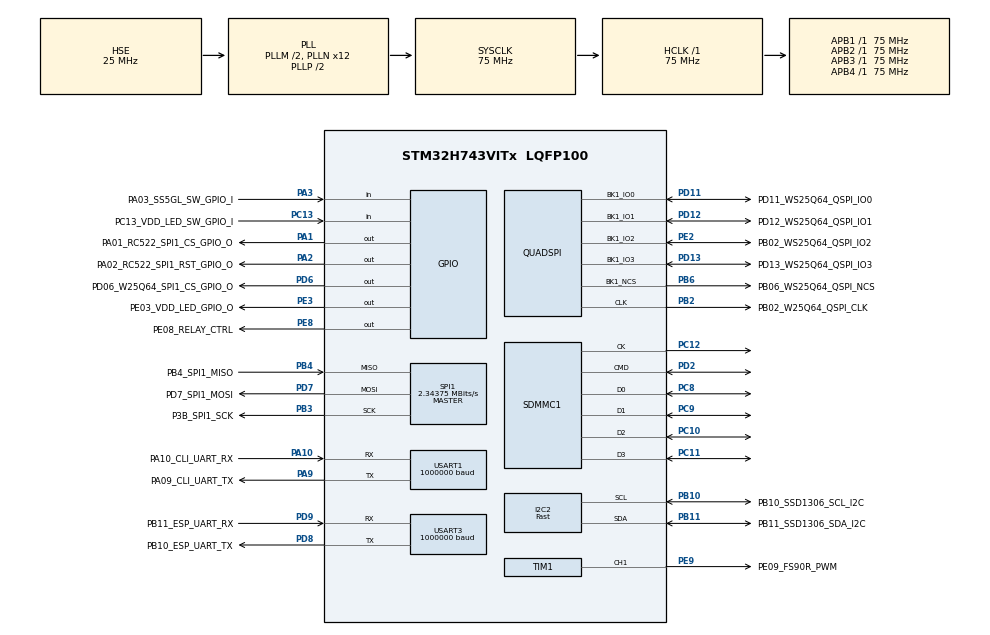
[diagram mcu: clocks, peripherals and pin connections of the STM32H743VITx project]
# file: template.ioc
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ADC3.Channel-2\#ChannelRegularConversion=ADC_CHANNEL_VBAT
ADC3.Channel-4\#ChannelRegularConversion=ADC_CHANNEL_TEMPSENSOR
ADC3.ContinuousConvMode=ENABLE
ADC3.ConversionDataManagement=ADC_CONVERSIONDATA_DMA_CIRCULAR
ADC3.NbrOfConversion=2
ADC3.NbrOfConversionFlag=1
ADC3.OffsetNumber-2\#ChannelRegularConversion=ADC_OFFSET_NONE
ADC3.OffsetNumber-4\#ChannelRegularConversion=ADC_OFFSET_NONE
ADC3.OffsetSignedSaturation-2\#ChannelRegularConversion=DISABLE
ADC3.OffsetSignedSaturation-4\#ChannelRegularConversion=DISABLE
ADC3.Overrun=ADC_OVR_DATA_OVERWRITTEN
ADC3.Rank-2\#ChannelRegularConversion=1
ADC3.Rank-4\#ChannelRegularConversion=2
ADC3.SamplingTime-2\#ChannelRegularConversion=ADC_SAMPLETIME_810CYCLES_5
ADC3.SamplingTime-4\#ChannelRegularConversion=ADC_SAMPLETIME_810CYCLES_5
Bdma.ADC3.0.Direction=DMA_PERIPH_TO_MEMORY
Bdma.ADC3.0.EventEnable=DISABLE
Bdma.ADC3.0.Instance=BDMA_Channel0
Bdma.ADC3.0.MemDataAlignment=DMA_MDATAALIGN_HALFWORD
Bdma.ADC3.0.MemInc=DMA_MINC_ENABLE
Bdma.ADC3.0.Mode=DMA_CIRCULAR
Bdma.ADC3.0.PeriphDataAlignment=DMA_PDATAALIGN_HALFWORD
Bdma.ADC3.0.PeriphInc=DMA_PINC_DISABLE
Bdma.ADC3.0.Polarity=HAL_DMAMUX_REQ_GEN_RISING
Bdma.ADC3.0.Priority=DMA_PRIORITY_LOW
Bdma.ADC3.0.RequestNumber=1
Bdma.ADC3.0.SignalID=NONE
Bdma.ADC3.0.SyncEnable=DISABLE
Bdma.ADC3.0.SyncPolarity=HAL_DMAMUX_SYNC_NO_EVENT
Bdma.ADC3.0.SyncRequestNumber=1
Bdma.ADC3.0.SyncSignalID=NONE
Bdma.Request0=ADC3
Bdma.RequestsNb=1
FATFS._VOLUMES=2
I2C2.I2C_Fall_Time=300
I2C2.I2C_Rise_Time=300
I2C2.I2C_Speed_Mode=I2C_Fast
I2C2.Timing=0x10E8132D
Mcu.Family=STM32H7
Mcu.Name=STM32H743VITx
Mcu.Package=LQFP100
NVIC.BDMA_Channel0_IRQn=true\:0\:0\:false\:false\:true\:false\:true
NVIC.PriorityGroup=NVIC_PRIORITYGROUP_4
PA1.GPIO_Label=PA01_RC522_SPI1_CS_GPIO_O
PA1.PinState=GPIO_PIN_SET
PA1.Signal=GPIO_Output
PA10.GPIO_Label=PA10_CLI_UART_RX
PA10.GPIO_Speed=GPIO_SPEED_FREQ_MEDIUM
PA10.Mode=Asynchronous
PA10.Signal=USART1_RX
PA2.GPIO_Label=PA02_RC522_SPI1_RST_GPIO_O
PA2.PinState=GPIO_PIN_SET
PA2.Signal=GPIO_Output
PA3.GPIO_Label=PA03_SS5GL_SW_GPIO_I
PA3.GPIO_PuPd=GPIO_PULLDOWN
PA3.Signal=GPIO_Input
PA9.GPIO_Label=PA09_CLI_UART_TX
PA9.GPIO_ModeDefaultPP=GPIO_MODE_AF_PP
PA9.GPIO_PuPd=GPIO_NOPULL
PA9.GPIO_Speed=GPIO_SPEED_FREQ_MEDIUM
PA9.Mode=Asynchronous
PA9.Signal=USART1_TX
PB10.GPIO_Label=PB10_SSD1306_SCL_I2C
PB10.Mode=I2C
PB10.Signal=I2C2_SCL
PB11.GPIO_Label=PB11_SSD1306_SDA_I2C
PB11.Mode=I2C
PB11.Signal=I2C2_SDA
PB2.GPIO_Label=PB02_W25Q64_QSPI_CLK
PB2.GPIO_Speed=GPIO_SPEED_FREQ_HIGH
PB2.Mode=Single Bank 1
PB2.Signal=QUADSPI_CLK
PB3\ (JTDO/TRACESWO).GPIO_Label=P3B_SPI1_SCK
PB3\ (JTDO/TRACESWO).Mode=Full_Duplex_Master
PB3\ (JTDO/TRACESWO).Signal=SPI1_SCK
PB4\ (NJTRST).GPIO_Label=PB4_SPI1_MISO
PB4\ (NJTRST).Mode=Full_Duplex_Master
PB4\ (NJTRST).Signal=SPI1_MISO
PB6.GPIO_Label=PB06_WS25Q64_QSPI_NCS
PB6.GPIO_Speed=GPIO_SPEED_FREQ_HIGH
PB6.Mode=Single Bank 1
PB6.Signal=QUADSPI_BK1_NCS
PC10.Mode=SD_4_bits_Wide_bus
PC10.Signal=SDMMC1_D2
PC11.Mode=SD_4_bits_Wide_bus
PC11.Signal=SDMMC1_D3
PC12.Mode=SD_4_bits_Wide_bus
PC12.Signal=SDMMC1_CK
PC13.GPIO_Label=PC13_VDD_LED_SW_GPIO_I
PC13.GPIO_PuPd=GPIO_PULLDOWN
PC13.Signal=GPIO_Input
PC14-OSC32_IN\ (OSC32_IN).Mode=LSE-External-Oscillator
PC14-OSC32_IN\ (OSC32_IN).Signal=RCC_OSC32_IN
PC15-OSC32_OUT\ (OSC32_OUT).Mode=LSE-External-Oscillator
PC15-OSC32_OUT\ (OSC32_OUT).Signal=RCC_OSC32_OUT
PC8.Mode=SD_4_bits_Wide_bus
PC8.Signal=SDMMC1_D0
PC9.Mode=SD_4_bits_Wide_bus
PC9.Signal=SDMMC1_D1
PD11.GPIO_Label=PD11_WS25Q64_QSPI_IO0
PD11.GPIO_Speed=GPIO_SPEED_FREQ_HIGH
PD11.Mode=Single Bank 1
PD11.Signal=QUADSPI_BK1_IO0
PD12.GPIO_Label=PD12_WS25Q64_QSPI_IO1
PD12.GPIO_Speed=GPIO_SPEED_FREQ_HIGH
PD12.Mode=Single Bank 1
PD12.Signal=QUADSPI_BK1_IO1
PD13.GPIO_Label=PD13_WS25Q64_QSPI_IO3
PD13.GPIO_Speed=GPIO_SPEED_FREQ_HIGH
PD13.Mode=Single Bank 1
PD13.Signal=QUADSPI_BK1_IO3
PD2.Mode=SD_4_bits_Wide_bus
PD2.Signal=SDMMC1_CMD
PD6.GPIO_Label=PD06_W25Q64_SPI1_CS_GPIO_O
PD6.GPIO_PuPd=GPIO_NOPULL
PD6.GPIO_Speed=GPIO_SPEED_FREQ_HIGH
PD6.PinState=GPIO_PIN_SET
PD6.Signal=GPIO_Output
PD7.GPIO_Label=PD7_SPI1_MOSI
PD7.Mode=Full_Duplex_Master
PD7.Signal=SPI1_MOSI
PD8.GPIO_Label=PB10_ESP_UART_TX
PD8.GPIO_Speed=GPIO_SPEED_FREQ_HIGH
PD8.Mode=Asynchronous
PD8.Signal=USART3_TX
PD9.GPIO_Label=PB11_ESP_UART_RX
PD9.GPIO_Speed=GPIO_SPEED_FREQ_HIGH
PD9.Mode=Asynchronous
PD9.Signal=USART3_RX
PE2.GPIO_Label=PB02_WS25Q64_QSPI_IO2
PE2.GPIO_Speed=GPIO_SPEED_FREQ_HIGH
PE2.Mode=Single Bank 1
PE2.Signal=QUADSPI_BK1_IO2
PE3.GPIO_Label=PE03_VDD_LED_GPIO_O
PE3.Signal=GPIO_Output
PE8.GPIO_Label=PE08_RELAY_CTRL
PE8.Signal=GPIO_Output
PE9.GPIO_Label=PE09_FS90R_PWM
PE9.Signal=S_TIM1_CH1
PH0-OSC_IN\ (PH0).Mode=HSE-External-Oscillator
PH0-OSC_IN\ (PH0).Signal=RCC_OSC_IN
PH1-OSC_OUT\ (PH1).Mode=HSE-External-Oscillator
PH1-OSC_OUT\ (PH1).Signal=RCC_OSC_OUT
ProjectManager.HeapSize=0x200
ProjectManager.StackSize=0x400
ProjectManager.TargetToolchain=STM32CubeIDE
QUADSPI.FlashSize=22
QUADSPI.SampleShifting=QSPI_SAMPLE_SHIFTING_HALFCYCLE
RCC.ADCFreq_Value=75000000
RCC.APB1Freq_Value=75000000
RCC.APB2Freq_Value=75000000
RCC.APB3Freq_Value=75000000
RCC.APB4Freq_Value=75000000
RCC.CortexFreq_Value=75000000
RCC.DIVM1=2
RCC.DIVM2=2
RCC.DIVN1=12
RCC.DIVN2=12
RCC.DIVQ1=1
RCC.HCLKFreq_Value=75000000
RCC.PLL1_VCI_Range-AdvancedSettings=RCC_PLL1VCIRANGE_1
RCC.PLL1_VCO_SEL-AdvancedSettings=RCC_PLL1VCOWIDE
RCC.PLL2FRACN=0
RCC.PLL2_VCI_Range-AdvancedSettings=RCC_PLL2VCIRANGE_0
RCC.PLL3_VCI_Range-AdvancedSettings=RCC_PLL3VCIRANGE_3
RCC.PLLFRACN=0
RCC.PLLSourceVirtual=RCC_PLLSOURCE_HSE
RCC.PWR_Regulator_Voltage_Scale=PWR_REGULATOR_VOLTAGE_SCALE0
RCC.SYSCLKFreq_VALUE=75000000
RCC.SYSCLKSource=RCC_SYSCLKSOURCE_PLLCLK
RCC.USBFreq_Value=150000000
SDMMC1.ClockDiv=23
SH.S_TIM1_CH1.0=TIM1_CH1,PWM Generation1 CH1
SPI1.BaudRatePrescaler=SPI_BAUDRATEPRESCALER_64
SPI1.CalculateBaudRate=2.34375 MBits/s
SPI1.DataSize=SPI_DATASIZE_8BIT
SPI1.Direction=SPI_DIRECTION_2LINES
SPI1.Mode=SPI_MODE_MASTER
SPI1.VirtualType=VM_MASTER
TIM1.AutoReloadPreload=TIM_AUTORELOAD_PRELOAD_ENABLE
TIM1.Channel-PWM\ Generation1\ CH1=TIM_CHANNEL_1
TIM1.Period=19999
TIM1.Prescaler=74
TIM1.Pulse-PWM\ Generation1\ CH1=1500
USART1.BaudRate=1000000
USART1.VirtualMode-Asynchronous=VM_ASYNC
USART3.BaudRate=1000000
USART3.VirtualMode-Asynchronous=VM_ASYNC
VP_ADC3_TempSens_Input.Mode=IN-TempSens
VP_ADC3_Vbat_Input.Mode=IN-Vbat
VP_FATFS_VS_Generic.Mode=User_defined
VP_TIM1_VS_ClockSourceINT.Mode=Internal
board=custom

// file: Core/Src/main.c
/* USER CODE BEGIN Header */
/**
  ******************************************************************************
  * @file           : main.c
  * @brief          : Main program body
  ******************************************************************************
  * @attention
  *
  * <h2><center>&copy; Copyright (c) 2026 STMicroelectronics.
  * All rights reserved.</center></h2>
  *
  * This software component is licensed by ST under BSD 3-Clause license,
  * the "License"; You may not use this file except in compliance with the
  * License. You may obtain a copy of the License at:
  *                        opensource.org/licenses/BSD-3-Clause
  *
  ******************************************************************************
  */
/* USER CODE END Header */
#include "main.h"
#include "fatfs.h"

/* USER CODE BEGIN Includes */
#include "hw.h"
#include "info.h"
#include "service.h"
#include "log.h"
/* USER CODE END Includes */

ADC_HandleTypeDef hadc3;
DMA_HandleTypeDef hdma_adc3;

I2C_HandleTypeDef hi2c2;

QSPI_HandleTypeDef hqspi;

SD_HandleTypeDef hsd1;

SPI_HandleTypeDef hspi1;

TIM_HandleTypeDef htim1;

UART_HandleTypeDef huart1;
UART_HandleTypeDef huart3;

/* USER CODE BEGIN PV */
hw_config_t hw_cfg;

/* USER CODE END PV */

void SystemClock_Config(void);
static void MX_GPIO_Init(void);
static void MX_USART1_UART_Init(void);
static void MX_USART3_UART_Init(void);
static void MX_SPI1_Init(void);
static void MX_QUADSPI_Init(void);
static void MX_ADC3_Init(void);
static void MX_TIM1_Init(void);
static void MX_I2C2_Init(void);
static void MX_SDMMC1_SD_Init(void);
static void MX_BDMA_Init(void);

int main(void)
{

  /* MCU Configuration--------------------------------------------------------*/

  /* Reset of all peripherals, Initializes the Flash interface and the Systick. */
  HAL_Init();

  /* Configure the system clock */
  SystemClock_Config();

  /* Initialize all configured peripherals */
  MX_GPIO_Init();
  MX_USART1_UART_Init();
  MX_USART3_UART_Init();
  MX_SPI1_Init();
  MX_QUADSPI_Init();
  MX_ADC3_Init();
  MX_TIM1_Init();
  MX_I2C2_Init();
  MX_SDMMC1_SD_Init();
  MX_BDMA_Init();
  MX_FATFS_Init();
  /* USER CODE BEGIN 2 */
  /* @formatter:off */
  hw_config_t hw_cfg = {
      .h_uart = { &huart1, &huart3},
      .h_i2c = { &hi2c2, },
      .h_spi = { &hspi1 },
      .h_qspi = { &hqspi },
      .h_adc = { &hadc3, &hadc3 },
      .h_tim = { &htim1 },
      .h_sd = { &hsd1 }
      };
    /* @formatter:on */
  hwInit(&hw_cfg);
  infoCliInit();
  logInit();

  /* USER CODE END 2 */

  /* Infinite loop */
  /* USER CODE BEGIN WHILE */
  while (1)
  {
    infoCliUpdate();
    serviceUpdate();
    /* USER CODE END WHILE */

  }
}

void SystemClock_Config(void)
{
  RCC_OscInitTypeDef RCC_OscInitStruct = {0};
  RCC_ClkInitTypeDef RCC_ClkInitStruct = {0};

  /** Supply configuration update enable
  */
  HAL_PWREx_ConfigSupply(PWR_LDO_SUPPLY);
  /** Configure the main internal regulator output voltage
  */
  __HAL_PWR_VOLTAGESCALING_CONFIG(PWR_REGULATOR_VOLTAGE_SCALE0);

  while(!__HAL_PWR_GET_FLAG(PWR_FLAG_VOSRDY)) {}
  /** Macro to configure the PLL clock source
  */
  __HAL_RCC_PLL_PLLSOURCE_CONFIG(RCC_PLLSOURCE_HSE);
  /** Initializes the RCC Oscillators according to the specified parameters
  * in the RCC_OscInitTypeDef structure.
  */
  RCC_OscInitStruct.OscillatorType = RCC_OSCILLATORTYPE_HSE;
  RCC_OscInitStruct.HSEState = RCC_HSE_ON;
  RCC_OscInitStruct.PLL.PLLState = RCC_PLL_ON;
  RCC_OscInitStruct.PLL.PLLSource = RCC_PLLSOURCE_HSE;
  RCC_OscInitStruct.PLL.PLLM = 2;
  RCC_OscInitStruct.PLL.PLLN = 12;
  RCC_OscInitStruct.PLL.PLLP = 2;
  RCC_OscInitStruct.PLL.PLLQ = 1;
  RCC_OscInitStruct.PLL.PLLR = 2;
  RCC_OscInitStruct.PLL.PLLRGE = RCC_PLL1VCIRANGE_3;
  RCC_OscInitStruct.PLL.PLLVCOSEL = RCC_PLL1VCOMEDIUM;
  RCC_OscInitStruct.PLL.PLLFRACN = 0;
  if (HAL_RCC_OscConfig(&RCC_OscInitStruct) != HAL_OK)
  {
    Error_Handler();
  }
  /** Initializes the CPU, AHB and APB buses clocks
  */
  RCC_ClkInitStruct.ClockType = RCC_CLOCKTYPE_HCLK|RCC_CLOCKTYPE_SYSCLK
                              |RCC_CLOCKTYPE_PCLK1|RCC_CLOCKTYPE_PCLK2
                              |RCC_CLOCKTYPE_D3PCLK1|RCC_CLOCKTYPE_D1PCLK1;
  RCC_ClkInitStruct.SYSCLKSource = RCC_SYSCLKSOURCE_PLLCLK;
  RCC_ClkInitStruct.SYSCLKDivider = RCC_SYSCLK_DIV1;
  RCC_ClkInitStruct.AHBCLKDivider = RCC_HCLK_DIV1;
  RCC_ClkInitStruct.APB3CLKDivider = RCC_APB3_DIV1;
  RCC_ClkInitStruct.APB1CLKDivider = RCC_APB1_DIV1;
  RCC_ClkInitStruct.APB2CLKDivider = RCC_APB2_DIV1;
  RCC_ClkInitStruct.APB4CLKDivider = RCC_APB4_DIV1;

  if (HAL_RCC_ClockConfig(&RCC_ClkInitStruct, FLASH_LATENCY_1) != HAL_OK)
  {
    Error_Handler();
  }
}

static void MX_ADC3_Init(void)
{

  ADC_ChannelConfTypeDef sConfig = {0};

  /** Common config
  */
  hadc3.Instance = ADC3;
  hadc3.Init.ClockPrescaler = ADC_CLOCK_ASYNC_DIV1;
  hadc3.Init.Resolution = ADC_RESOLUTION_16B;
  hadc3.Init.ScanConvMode = ADC_SCAN_ENABLE;
  hadc3.Init.EOCSelection = ADC_EOC_SINGLE_CONV;
  hadc3.Init.LowPowerAutoWait = DISABLE;
  hadc3.Init.ContinuousConvMode = ENABLE;
  hadc3.Init.NbrOfConversion = 2;
  hadc3.Init.DiscontinuousConvMode = DISABLE;
  hadc3.Init.ExternalTrigConv = ADC_SOFTWARE_START;
  hadc3.Init.ExternalTrigConvEdge = ADC_EXTERNALTRIGCONVEDGE_NONE;
  hadc3.Init.ConversionDataManagement = ADC_CONVERSIONDATA_DMA_CIRCULAR;
  hadc3.Init.Overrun = ADC_OVR_DATA_OVERWRITTEN;
  hadc3.Init.LeftBitShift = ADC_LEFTBITSHIFT_NONE;
  hadc3.Init.OversamplingMode = DISABLE;
  if (HAL_ADC_Init(&hadc3) != HAL_OK)
  {
    Error_Handler();
  }
  /** Configure Regular Channel
  */
  sConfig.Channel = ADC_CHANNEL_VBAT;
  sConfig.Rank = ADC_REGULAR_RANK_1;
  sConfig.SamplingTime = ADC_SAMPLETIME_810CYCLES_5;
  sConfig.SingleDiff = ADC_SINGLE_ENDED;
  sConfig.OffsetNumber = ADC_OFFSET_NONE;
  sConfig.Offset = 0;
  sConfig.OffsetSignedSaturation = DISABLE;
  if (HAL_ADC_ConfigChannel(&hadc3, &sConfig) != HAL_OK)
  {
    Error_Handler();
  }
  /** Configure Regular Channel
  */
  sConfig.Channel = ADC_CHANNEL_TEMPSENSOR;
  sConfig.Rank = ADC_REGULAR_RANK_2;
  if (HAL_ADC_ConfigChannel(&hadc3, &sConfig) != HAL_OK)
  {
    Error_Handler();
  }

}

static void MX_I2C2_Init(void)
{

  hi2c2.Instance = I2C2;
  hi2c2.Init.Timing = 0x10E8132D;
  hi2c2.Init.OwnAddress1 = 0;
  hi2c2.Init.AddressingMode = I2C_ADDRESSINGMODE_7BIT;
  hi2c2.Init.DualAddressMode = I2C_DUALADDRESS_DISABLE;
  hi2c2.Init.OwnAddress2 = 0;
  hi2c2.Init.OwnAddress2Masks = I2C_OA2_NOMASK;
  hi2c2.Init.GeneralCallMode = I2C_GENERALCALL_DISABLE;
  hi2c2.Init.NoStretchMode = I2C_NOSTRETCH_DISABLE;
  if (HAL_I2C_Init(&hi2c2) != HAL_OK)
  {
    Error_Handler();
  }
  /** Configure Analogue filter
  */
  if (HAL_I2CEx_ConfigAnalogFilter(&hi2c2, I2C_ANALOGFILTER_ENABLE) != HAL_OK)
  {
    Error_Handler();
  }
  /** Configure Digital filter
  */
  if (HAL_I2CEx_ConfigDigitalFilter(&hi2c2, 0) != HAL_OK)
  {
    Error_Handler();
  }

}

static void MX_QUADSPI_Init(void)
{

  /* QUADSPI parameter configuration*/
  hqspi.Instance = QUADSPI;
  hqspi.Init.ClockPrescaler = 255;
  hqspi.Init.FifoThreshold = 1;
  hqspi.Init.SampleShifting = QSPI_SAMPLE_SHIFTING_HALFCYCLE;
  hqspi.Init.FlashSize = 22;
  hqspi.Init.ChipSelectHighTime = QSPI_CS_HIGH_TIME_1_CYCLE;
  hqspi.Init.ClockMode = QSPI_CLOCK_MODE_0;
  hqspi.Init.FlashID = QSPI_FLASH_ID_1;
  hqspi.Init.DualFlash = QSPI_DUALFLASH_DISABLE;
  if (HAL_QSPI_Init(&hqspi) != HAL_OK)
  {
    Error_Handler();
  }

}

static void MX_SDMMC1_SD_Init(void)
{

  hsd1.Instance = SDMMC1;
  hsd1.Init.ClockEdge = SDMMC_CLOCK_EDGE_RISING;
  hsd1.Init.ClockPowerSave = SDMMC_CLOCK_POWER_SAVE_DISABLE;
  hsd1.Init.BusWide = SDMMC_BUS_WIDE_4B;
  hsd1.Init.HardwareFlowControl = SDMMC_HARDWARE_FLOW_CONTROL_DISABLE;
  hsd1.Init.ClockDiv = 23;
  if (HAL_SD_Init(&hsd1) != HAL_OK)
  {
    Error_Handler();
  }

}

static void MX_SPI1_Init(void)
{

  /* SPI1 parameter configuration*/
  hspi1.Instance = SPI1;
  hspi1.Init.Mode = SPI_MODE_MASTER;
  hspi1.Init.Direction = SPI_DIRECTION_2LINES;
  hspi1.Init.DataSize = SPI_DATASIZE_8BIT;
  hspi1.Init.CLKPolarity = SPI_POLARITY_LOW;
  hspi1.Init.CLKPhase = SPI_PHASE_1EDGE;
  hspi1.Init.NSS = SPI_NSS_SOFT;
  hspi1.Init.BaudRatePrescaler = SPI_BAUDRATEPRESCALER_64;
  hspi1.Init.FirstBit = SPI_FIRSTBIT_MSB;
  hspi1.Init.TIMode = SPI_TIMODE_DISABLE;
  hspi1.Init.CRCCalculation = SPI_CRCCALCULATION_DISABLE;
  hspi1.Init.CRCPolynomial = 0x0;
  hspi1.Init.NSSPMode = SPI_NSS_PULSE_ENABLE;
  hspi1.Init.NSSPolarity = SPI_NSS_POLARITY_LOW;
  hspi1.Init.FifoThreshold = SPI_FIFO_THRESHOLD_01DATA;
  hspi1.Init.TxCRCInitializationPattern = SPI_CRC_INITIALIZATION_ALL_ZERO_PATTERN;
  hspi1.Init.RxCRCInitializationPattern = SPI_CRC_INITIALIZATION_ALL_ZERO_PATTERN;
  hspi1.Init.MasterSSIdleness = SPI_MASTER_SS_IDLENESS_00CYCLE;
  hspi1.Init.MasterInterDataIdleness = SPI_MASTER_INTERDATA_IDLENESS_00CYCLE;
  hspi1.Init.MasterReceiverAutoSusp = SPI_MASTER_RX_AUTOSUSP_DISABLE;
  hspi1.Init.MasterKeepIOState = SPI_MASTER_KEEP_IO_STATE_DISABLE;
  hspi1.Init.IOSwap = SPI_IO_SWAP_DISABLE;
  if (HAL_SPI_Init(&hspi1) != HAL_OK)
  {
    Error_Handler();
  }

}

static void MX_TIM1_Init(void)
{

  TIM_ClockConfigTypeDef sClockSourceConfig = {0};
  TIM_MasterConfigTypeDef sMasterConfig = {0};
  TIM_OC_InitTypeDef sConfigOC = {0};
  TIM_BreakDeadTimeConfigTypeDef sBreakDeadTimeConfig = {0};

  htim1.Instance = TIM1;
  htim1.Init.Prescaler = 74;
  htim1.Init.CounterMode = TIM_COUNTERMODE_UP;
  htim1.Init.Period = 19999;
  htim1.Init.ClockDivision = TIM_CLOCKDIVISION_DIV1;
  htim1.Init.RepetitionCounter = 0;
  htim1.Init.AutoReloadPreload = TIM_AUTORELOAD_PRELOAD_ENABLE;
  if (HAL_TIM_Base_Init(&htim1) != HAL_OK)
  {
    Error_Handler();
  }
  sClockSourceConfig.ClockSource = TIM_CLOCKSOURCE_INTERNAL;
  if (HAL_TIM_ConfigClockSource(&htim1, &sClockSourceConfig) != HAL_OK)
  {
    Error_Handler();
  }
  if (HAL_TIM_PWM_Init(&htim1) != HAL_OK)
  {
    Error_Handler();
  }
  sMasterConfig.MasterOutputTrigger = TIM_TRGO_RESET;
  sMasterConfig.MasterOutputTrigger2 = TIM_TRGO2_RESET;
  sMasterConfig.MasterSlaveMode = TIM_MASTERSLAVEMODE_DISABLE;
  if (HAL_TIMEx_MasterConfigSynchronization(&htim1, &sMasterConfig) != HAL_OK)
  {
    Error_Handler();
  }
  sConfigOC.OCMode = TIM_OCMODE_PWM1;
  sConfigOC.Pulse = 1500;
  sConfigOC.OCPolarity = TIM_OCPOLARITY_HIGH;
  sConfigOC.OCNPolarity = TIM_OCNPOLARITY_HIGH;
  sConfigOC.OCFastMode = TIM_OCFAST_DISABLE;
  sConfigOC.OCIdleState = TIM_OCIDLESTATE_RESET;
  sConfigOC.OCNIdleState = TIM_OCNIDLESTATE_RESET;
  if (HAL_TIM_PWM_ConfigChannel(&htim1, &sConfigOC, TIM_CHANNEL_1) != HAL_OK)
  {
    Error_Handler();
  }
  sBreakDeadTimeConfig.OffStateRunMode = TIM_OSSR_DISABLE;
  sBreakDeadTimeConfig.OffStateIDLEMode = TIM_OSSI_DISABLE;
  sBreakDeadTimeConfig.LockLevel = TIM_LOCKLEVEL_OFF;
  sBreakDeadTimeConfig.DeadTime = 0;
  sBreakDeadTimeConfig.BreakState = TIM_BREAK_DISABLE;
  sBreakDeadTimeConfig.BreakPolarity = TIM_BREAKPOLARITY_HIGH;
  sBreakDeadTimeConfig.BreakFilter = 0;
  sBreakDeadTimeConfig.Break2State = TIM_BREAK2_DISABLE;
  sBreakDeadTimeConfig.Break2Polarity = TIM_BREAK2POLARITY_HIGH;
  sBreakDeadTimeConfig.Break2Filter = 0;
  sBreakDeadTimeConfig.AutomaticOutput = TIM_AUTOMATICOUTPUT_DISABLE;
  if (HAL_TIMEx_ConfigBreakDeadTime(&htim1, &sBreakDeadTimeConfig) != HAL_OK)
  {
    Error_Handler();
  }
  HAL_TIM_MspPostInit(&htim1);

}

static void MX_USART1_UART_Init(void)
{

  huart1.Instance = USART1;
  huart1.Init.BaudRate = 1000000;
  huart1.Init.WordLength = UART_WORDLENGTH_8B;
  huart1.Init.StopBits = UART_STOPBITS_1;
  huart1.Init.Parity = UART_PARITY_NONE;
  huart1.Init.Mode = UART_MODE_TX_RX;
  huart1.Init.HwFlowCtl = UART_HWCONTROL_NONE;
  huart1.Init.OverSampling = UART_OVERSAMPLING_16;
  huart1.Init.OneBitSampling = UART_ONE_BIT_SAMPLE_DISABLE;
  huart1.Init.ClockPrescaler = UART_PRESCALER_DIV1;
  huart1.AdvancedInit.AdvFeatureInit = UART_ADVFEATURE_NO_INIT;
  if (HAL_UART_Init(&huart1) != HAL_OK)
  {
    Error_Handler();
  }
  if (HAL_UARTEx_SetTxFifoThreshold(&huart1, UART_TXFIFO_THRESHOLD_1_8) != HAL_OK)
  {
    Error_Handler();
  }
  if (HAL_UARTEx_SetRxFifoThreshold(&huart1, UART_RXFIFO_THRESHOLD_1_8) != HAL_OK)
  {
    Error_Handler();
  }
  if (HAL_UARTEx_DisableFifoMode(&huart1) != HAL_OK)
  {
    Error_Handler();
  }

}

static void MX_USART3_UART_Init(void)
{

  huart3.Instance = USART3;
  huart3.Init.BaudRate = 1000000;
  huart3.Init.WordLength = UART_WORDLENGTH_8B;
  huart3.Init.StopBits = UART_STOPBITS_1;
  huart3.Init.Parity = UART_PARITY_NONE;
  huart3.Init.Mode = UART_MODE_TX_RX;
  huart3.Init.HwFlowCtl = UART_HWCONTROL_NONE;
  huart3.Init.OverSampling = UART_OVERSAMPLING_16;
  huart3.Init.OneBitSampling = UART_ONE_BIT_SAMPLE_DISABLE;
  huart3.Init.ClockPrescaler = UART_PRESCALER_DIV1;
  huart3.AdvancedInit.AdvFeatureInit = UART_ADVFEATURE_NO_INIT;
  if (HAL_UART_Init(&huart3) != HAL_OK)
  {
    Error_Handler();
  }
  if (HAL_UARTEx_SetTxFifoThreshold(&huart3, UART_TXFIFO_THRESHOLD_1_8) != HAL_OK)
  {
    Error_Handler();
  }
  if (HAL_UARTEx_SetRxFifoThreshold(&huart3, UART_RXFIFO_THRESHOLD_1_8) != HAL_OK)
  {
    Error_Handler();
  }
  if (HAL_UARTEx_DisableFifoMode(&huart3) != HAL_OK)
  {
    Error_Handler();
  }

}

static void MX_BDMA_Init(void)
{

  /* DMA controller clock enable */
  __HAL_RCC_BDMA_CLK_ENABLE();

  /* DMA interrupt init */
  /* BDMA_Channel0_IRQn interrupt configuration */
  HAL_NVIC_SetPriority(BDMA_Channel0_IRQn, 0, 0);
  HAL_NVIC_EnableIRQ(BDMA_Channel0_IRQn);

}

static void MX_GPIO_Init(void)
{
  GPIO_InitTypeDef GPIO_InitStruct = {0};

  /* GPIO Ports Clock Enable */
  __HAL_RCC_GPIOE_CLK_ENABLE();
  __HAL_RCC_GPIOC_CLK_ENABLE();
  __HAL_RCC_GPIOH_CLK_ENABLE();
  __HAL_RCC_GPIOA_CLK_ENABLE();
  __HAL_RCC_GPIOB_CLK_ENABLE();
  __HAL_RCC_GPIOD_CLK_ENABLE();

  /*Configure GPIO pin Output Level */
  HAL_GPIO_WritePin(GPIOE, PE03_VDD_LED_GPIO_O_Pin|PE08_RELAY_CTRL_Pin, GPIO_PIN_RESET);

  /*Configure GPIO pin Output Level */
  HAL_GPIO_WritePin(GPIOA, PA01_RC522_SPI1_CS_GPIO_O_Pin|PA02_RC522_SPI1_RST_GPIO_O_Pin, GPIO_PIN_SET);

  /*Configure GPIO pin Output Level */
  HAL_GPIO_WritePin(PD06_W25Q64_SPI1_CS_GPIO_O_GPIO_Port, PD06_W25Q64_SPI1_CS_GPIO_O_Pin, GPIO_PIN_SET);

  /*Configure GPIO pins : PE03_VDD_LED_GPIO_O_Pin PE08_RELAY_CTRL_Pin */
  GPIO_InitStruct.Pin = PE03_VDD_LED_GPIO_O_Pin|PE08_RELAY_CTRL_Pin;
  GPIO_InitStruct.Mode = GPIO_MODE_OUTPUT_PP;
  GPIO_InitStruct.Pull = GPIO_NOPULL;
  GPIO_InitStruct.Speed = GPIO_SPEED_FREQ_LOW;
  HAL_GPIO_Init(GPIOE, &GPIO_InitStruct);

  /*Configure GPIO pin : PC13_VDD_LED_SW_GPIO_I_Pin */
  GPIO_InitStruct.Pin = PC13_VDD_LED_SW_GPIO_I_Pin;
  GPIO_InitStruct.Mode = GPIO_MODE_INPUT;
  GPIO_InitStruct.Pull = GPIO_PULLDOWN;
  HAL_GPIO_Init(PC13_VDD_LED_SW_GPIO_I_GPIO_Port, &GPIO_InitStruct);

  /*Configure GPIO pins : PA01_RC522_SPI1_CS_GPIO_O_Pin PA02_RC522_SPI1_RST_GPIO_O_Pin */
  GPIO_InitStruct.Pin = PA01_RC522_SPI1_CS_GPIO_O_Pin|PA02_RC522_SPI1_RST_GPIO_O_Pin;
  GPIO_InitStruct.Mode = GPIO_MODE_OUTPUT_PP;
  GPIO_InitStruct.Pull = GPIO_NOPULL;
  GPIO_InitStruct.Speed = GPIO_SPEED_FREQ_LOW;
  HAL_GPIO_Init(GPIOA, &GPIO_InitStruct);

  /*Configure GPIO pin : PA03_SS5GL_SW_GPIO_I_Pin */
  GPIO_InitStruct.Pin = PA03_SS5GL_SW_GPIO_I_Pin;
  GPIO_InitStruct.Mode = GPIO_MODE_INPUT;
  GPIO_InitStruct.Pull = GPIO_PULLDOWN;
  HAL_GPIO_Init(PA03_SS5GL_SW_GPIO_I_GPIO_Port, &GPIO_InitStruct);

  /*Configure GPIO pin : PD06_W25Q64_SPI1_CS_GPIO_O_Pin */
  GPIO_InitStruct.Pin = PD06_W25Q64_SPI1_CS_GPIO_O_Pin;
  GPIO_InitStruct.Mode = GPIO_MODE_OUTPUT_PP;
  GPIO_InitStruct.Pull = GPIO_NOPULL;
  GPIO_InitStruct.Speed = GPIO_SPEED_FREQ_HIGH;
  HAL_GPIO_Init(PD06_W25Q64_SPI1_CS_GPIO_O_GPIO_Port, &GPIO_InitStruct);

}

void Error_Handler(void)
{
  __disable_irq();
  while (1)
  {
  }
}

/************************ (C) COPYRIGHT STMicroelectronics *****END OF FILE****/
